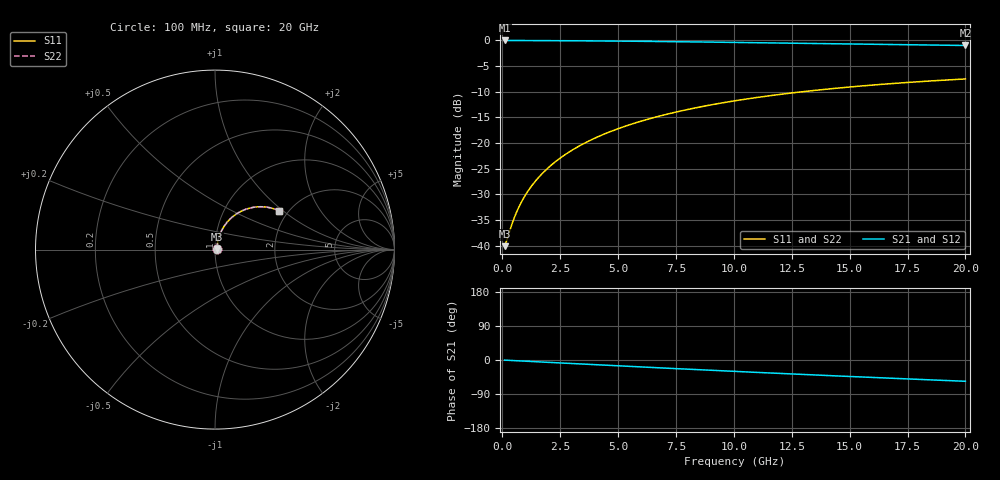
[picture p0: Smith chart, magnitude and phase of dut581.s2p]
! Touchstone file exported from HFSS 2026.1.0
!  File:  C:/ffzhzh/LocalFiles/Ansys_Project_Files/temp_train_TMRDL_581_1783008234_4048.aedt
!  Generated:  12:05:31 AM Jul  3, 2026
!  Design:  TMRDL
!  Project:  temp_train_TMRDL_581_1783008234_4048
! Variables:
!  h_bsmrdl = 2um
!  h_ox = 20um
!  h_rdl = 5um
!  h_sub = 80um
!  h_tmrdl = 2.95um
!  h_tsv = 80um
!  h_via = 3um
!  l_bsmrdl = 300um
!  l_sub = 1331.29um
!  l_tmrdl = 931.29um
!  m_sub = 200um
!  pitch = 24.31um
!  r_tsv = 6um
!  s_tmrdl = 10um
!  w_bsmrdl = 18um
!  w_sub = 500um
!  w_tmrdl = 11.75um
!  x_tsv_center1 = 937.165um
!  x_tsv_center2 = 1255.165um
!  x_tsv_center3 = 2198.205um
!  x_tsv_center4 = 2516.205um
!  x_tsv_center5 = 3459.245um
!  x_tsv_center6 = 3777.245um
# GHz S MA R 50.000000
! Terminal data exported
! Port[1] = TM_RDL1_1_T1
! Port[2] = TM_RDL1_1_T2
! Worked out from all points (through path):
!   200 points, 100 MHz to 20 GHz, reference 50 ohm
!   highest |S21| = -0.08 dB at 100 MHz (marker M1); lowest = -1.1 dB at 20 GHz (marker M2)
!   group delay of S21, straight-line fit = 7.8 ps
!   lowest |S11| = -40.1 dB at 100 MHz (marker M3), VSWR 1.02, Z = 51 + j0.316 ohm
!   |S11| at or under -10 dB: start of sweep to 13.05 GHz
!   |S22| runs from -40.1 to -7.6 dB; largest |S21 - S12| = 2.6e-15
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0.1  0.009941 18.2  0.9906 -0.3  0.9906 -0.3  0.009941 18.2
! Gamma 0 0 0 0
! Port Impedance 50 0 50 0
0.2  0.01144 32.6  0.9904 -0.7  0.9904 -0.7  0.01144 32.6
0.4  0.01585 49.6  0.9899 -1.3  0.9899 -1.3  0.01585 49.6
0.5  0.01833 54.4  0.9896 -1.6  0.9896 -1.6  0.01833 54.4
0.7  0.02344 60.7  0.9891 -2.2  0.9891 -2.2  0.02344 60.7
0.8  0.02602 62.9  0.9889 -2.6  0.9889 -2.6  0.02602 62.9
1  0.03123 66.0  0.9885 -3.2  0.9885 -3.2  0.03123 66.0
1.3  0.03914 68.9  0.9879 -4.1  0.9879 -4.1  0.03914 68.9
1.7  0.0498 71.0  0.9871 -5.3  0.9871 -5.3  0.0498 71.0
2.2  0.06324 72.2  0.986 -6.9  0.986 -6.9  0.06324 72.2
2.8  0.07941 72.3  0.9845 -8.7  0.9845 -8.7  0.0794 72.3
3.5  0.09817 71.6  0.9824 -10.8  0.9824 -10.8  0.09817 71.6
4.2  0.1167 70.5  0.9799 -13.0  0.9799 -13.0  0.1167 70.5
5  0.1376 68.8  0.9766 -15.4  0.9766 -15.4  0.1376 68.8
5.9  0.1605 66.7  0.9724 -18.1  0.9724 -18.1  0.1605 66.7
6.8  0.1828 64.4  0.9678 -20.7  0.9678 -20.7  0.1828 64.4
8.3  0.2183 60.5  0.9592 -25.1  0.9592 -25.1  0.2183 60.5
10.1  0.2581 55.8  0.948 -30.2  0.948 -30.2  0.2581 55.8
11.7  0.2907 51.6  0.9374 -34.7  0.9374 -34.7  0.2907 51.6
13.4  0.3225 47.1  0.9261 -39.3  0.9261 -39.3  0.3225 47.2
16.7  0.3759 38.8  0.9046 -47.9  0.9046 -47.9  0.3759 38.9
20  0.4186 30.9  0.8852 -56.2  0.8852 -56.2  0.4186 30.9
